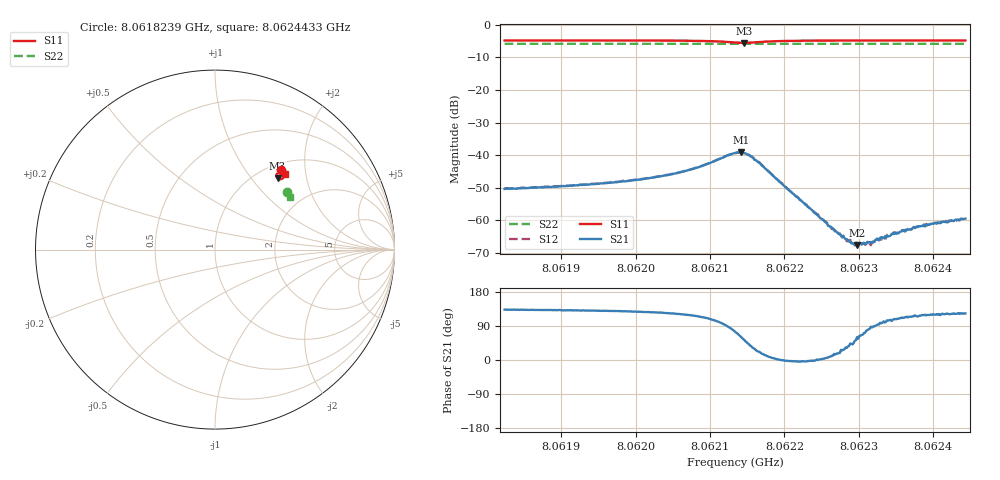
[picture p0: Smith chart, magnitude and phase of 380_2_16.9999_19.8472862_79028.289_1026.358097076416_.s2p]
#  HZ  S  RI  R  50.00
! Rohde & Schwarz Vector Network Analyzer
! Rohde-Schwarz,ZNB20-2Port,1311601062101988,3.16
! Created: UTC 3/20/2024, 11:09:06 PM
! freq[Hz]  re:S11  im:S11  re:S21  im:S21  re:S12  im:S12  re:S22  im:S22
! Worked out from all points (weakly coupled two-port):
!   401 points, 8.0618239 GHz to 8.0624433 GHz, reference 50 ohm
!   highest |S21| = -39.14 dB at 8.0621413 GHz (marker M1); lowest = -67.5 dB at 8.0622978 GHz (marker M2)
!   lowest |S11| = -5.5 dB at 8.062146 GHz (marker M3), VSWR 3.25, Z = 61.8 + j68.3 ohm
!   |S11| at or under -10 dB: nowhere
!   |S22| runs from -5.9 to -5.8 dB; largest |S21 - S12| = 0.00087
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8.06182386e9  0.3658 0.445  -0.00207 0.00223  -0.00196 0.0024  0.3984 0.3224
8.06192763e9  0.373 0.4388  -0.00229 0.00264  -0.00213 0.00285  0.4022 0.3173
8.06198803e9  0.3776 0.4338  -0.00249 0.00314  -0.00233 0.00332  0.4044 0.3141
8.06203139e9  0.3813 0.4289  -0.00272 0.00383  -0.00249 0.00408  0.4062 0.3119
8.06207475e9  0.3852 0.4202  -0.00283 0.00537  -0.00255 0.00556  0.4077 0.3093
8.0621336e9  0.3656 0.3919  0.00286 0.0105  0.00348 0.0103  0.4085 0.3055
8.06214135e9  0.3548 0.3939  0.00524 0.00971  0.00591 0.00941  0.4084 0.3054
8.06214599e9  0.3489 0.3979  0.00645 0.00857  0.00708 0.00818  0.4083 0.3054
8.06215374e9  0.343 0.4076  0.00765 0.00604  0.00808 0.00578  0.4083 0.3056
8.06216458e9  0.3434 0.4211  0.00723 0.00299  0.00759 0.00266  0.409 0.3057
8.06223737e9  0.3721 0.4347  0.00143 -6.87e-05  0.00142 -0.00011  0.413 0.3024
8.06226215e9  0.3764 0.4332  0.000792 0.000126  0.000781 6.66e-05  0.4138 0.3011
8.06228073e9  0.3788 0.4319  0.000476 0.000256  0.000495 0.000231  0.4146 0.3002
8.06229157e9  0.3801 0.4312  0.000342 0.000295  0.000361 0.000283  0.415 0.2995
8.06229777e9  0.3807 0.4308  0.000209 0.000366  0.000281 0.000356  0.4152 0.2992
8.06231635e9  0.3826 0.4295  1.76e-05 0.000467  7.87e-05 0.00041  0.4158 0.298
8.06234113e9  0.3849 0.428  -0.000146 0.000558  -0.000134 0.00058  0.4169 0.2969
8.06234732e9  0.3854 0.4275  -0.000189 0.000588  -0.000135 0.000644  0.4171 0.2967
8.0623752e9  0.3878 0.4259  -0.000364 0.000695  -0.000294 0.000706  0.4181 0.295
8.06238914e9  0.3887 0.4251  -0.0004 0.000704  -0.000365 0.000764  0.4185 0.2944
8.06239998e9  0.3895 0.4244  -0.000457 0.000768  -0.000408 0.000814  0.419 0.2939
8.06244334e9  0.3924 0.422  -0.00058 0.000895  -0.000534 0.000906  0.4204 0.2917
